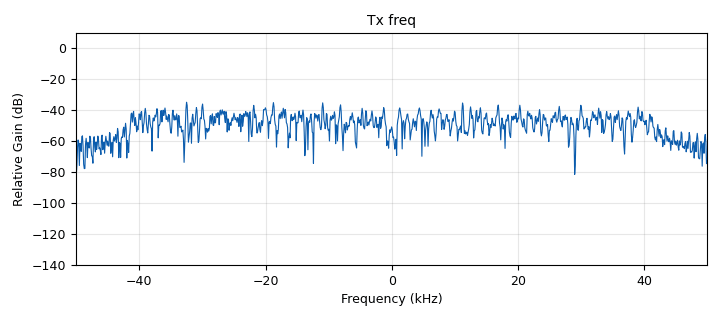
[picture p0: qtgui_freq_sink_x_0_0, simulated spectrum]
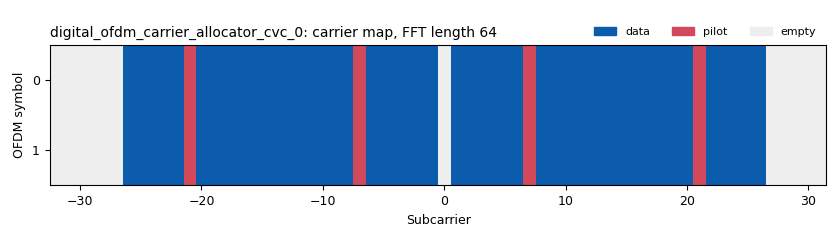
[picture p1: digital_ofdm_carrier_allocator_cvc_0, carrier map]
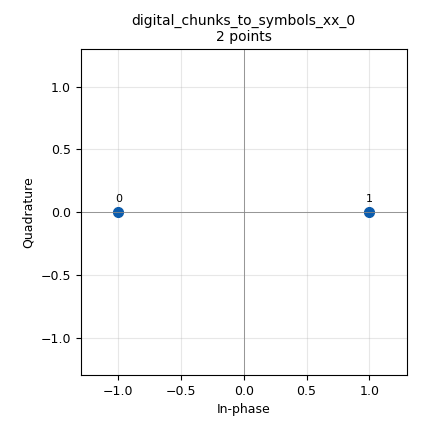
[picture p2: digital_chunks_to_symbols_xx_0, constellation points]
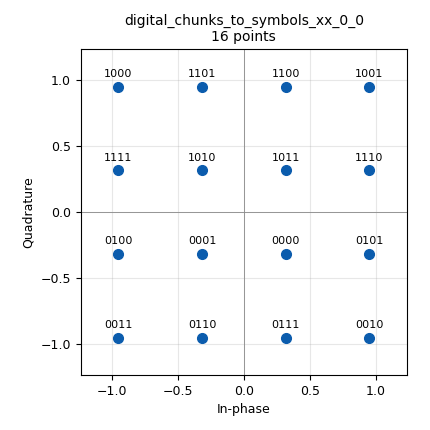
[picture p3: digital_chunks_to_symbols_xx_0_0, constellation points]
options:
  parameters:
    category: Custom
    description: Example of an OFDM receiver
    generate_options: qt_gui
    id: TX_SIDE_4audio
    output_language: python
    title: OFDM Tx Rx
  states: {}

blocks:
- name: RX_GAIN_0
  id: variable_qtgui_range
  parameters:
    label: RX_GAIN
    start: '0'
    step: '1'
    stop: '1000'
    value: '40'
  states: {}
- name: TX_GAIN
  id: variable_qtgui_range
  parameters:
    label: TX_GAIN
    start: '10'
    step: '1'
    stop: '1000'
    value: '40'
  states: {}
- name: central_freq
  id: variable
  parameters:
    value: 915e6
  states: {state: disabled}
- name: central_freq
  id: variable_qtgui_range
  parameters:
    label: TX FREQ
    start: 915e6
    step: 1e6
    stop: 10000e6
    value: 915e6
  states: {}
- name: central_freq_0
  id: variable_qtgui_range
  parameters:
    label: RX_FREQ
    start: 915e6
    step: 1e6
    stop: 10000e6
    value: 915e6
  states: {}
- name: fft_len
  id: variable
  parameters:
    value: '64'
  states: {}
- name: hdr_format
  id: variable
  parameters:
    value: digital.header_format_ofdm(occupied_carriers, 1, length_tag_key,)
  states: {}
- name: header_equalizer
  id: variable
  parameters:
    value: digital.ofdm_equalizer_simpledfe(fft_len, header_mod.base(), occupied_carriers, pilot_carriers, pilot_symbols)
  states: {}
- name: header_formatter
  id: variable
  parameters:
    value: digital.packet_header_ofdm(occupied_carriers, n_syms=1, len_tag_key=packet_length_tag_key, frame_len_tag_key=length_tag_key, bits_per_header_sym=header_mod.bits_per_symbol(), bits_per_payload_sym=payload_mod.bits_per_symbol(), scramble_header=False)
  states: {}
- name: header_mod
  id: variable
  parameters:
    value: digital.constellation_bpsk()
  states: {}
- name: length_tag_key
  id: variable
  parameters:
    value: '"frame_len"'
  states: {}
- name: occupied_carriers
  id: variable
  parameters:
    value: (list(range(-26, -21)) + list(range(-20, -7)) + list(range(-6, 0)) + list(range(1, 7)) + list(range(8, 21)) + list(range(22, 27)),)
  states: {}
- name: packet_len
  id: variable
  parameters:
    value: '96'
  states: {}
- name: packet_length_tag_key
  id: variable
  parameters:
    value: '"packet_len"'
  states: {}
- name: payload_equalizer
  id: variable
  parameters:
    value: digital.ofdm_equalizer_simpledfe(fft_len, payload_mod.base(), occupied_carriers, pilot_carriers, pilot_symbols, 1)
  states: {}
- name: payload_mod
  id: variable
  parameters:
    value: digital.constellation_16qam()
  states: {}
- name: pilot_carriers
  id: variable
  parameters:
    value: ((-21, -7, 7, 21,),)
  states: {}
- name: pilot_symbols
  id: variable
  parameters:
    value: ((1, 1, 1, -1,),)
  states: {}
- name: samp_rate
  id: variable
  parameters:
    value: '50000'
  states: {state: disabled}
- name: samp_rate
  id: variable_qtgui_range
  parameters:
    label: TX_SAMPLE
    start: '0'
    step: '1'
    stop: '500000'
    value: '100000'
  states: {}
- name: samp_rate_0
  id: variable_qtgui_range
  parameters:
    label: RX_SAMPLE
    start: '0'
    step: '1'
    stop: '500000'
    value: '100000'
  states: {}
- name: sync_word1
  id: variable
  parameters:
    value: '[0., 0., 0., 0., 0., 0., 0., 1.41421356, 0., -1.41421356, 0., 1.41421356, 0., -1.41421356, 0., -1.41421356, 0., -1.41421356, 0., 1.41421356, 0., -1.41421356, 0., 1.41421356, 0., -1.41421356, 0., -1.41421356, 0., -1.41421356, 0., -1.41421356, 0., 1.41421356, 0., -1.41421356, 0., 1.41421356, 0., 1.41421356, 0., 1.41421356, 0., -1.41421356, 0., 1.41421356, 0., 1.41421356, 0., 1.41421356, 0., -1.41421356, 0., 1.41421356, 0., 1.41421356, 0., 1.41421356, 0., 0., 0., 0., 0., 0.]'
  states: {}
- name: sync_word2
  id: variable
  parameters:
    value: '[0j, 0j, 0j, 0j, 0j, 0j, (-1+0j), (-1+0j), (-1+0j), (-1+0j), (1+0j), (1+0j), (-1+0j), (-1+0j), (-1+0j), (1+0j), (-1+0j), (1+0j), (1+0j), (1 +0j), (1+0j), (1+0j), (-1+0j), (-1+0j), (-1+0j), (-1+0j), (-1+0j), (1+0j), (-1+0j), (-1+0j), (1+0j), (-1+0j), 0j, (1+0j), (-1+0j), (1+0j), (1+0j), (1+0j), (-1+0j), (1+0j), (1+0j), (1+0j), (-1+0j), (1+0j), (1+0j), (1+0j), (1+0j), (-1+0j), (1+0j), (-1+0j), (-1+0j), (-1+0j), (1+0j), (-1+0j), (1+0j), (-1+0j), (-1+0j), (-1+0j), (-1+0j), 0j, 0j, 0j, 0j, 0j]'
  states: {}
- name: variable_qtgui_chooser_0
  id: variable_qtgui_chooser
  parameters:
    label0: '"song0"'
    label1: '"song1"'
    label2: '"song2"'
    num_opts: '3'
    option0: '0'
    option1: '1'
    option2: '2'
    type: int
    value: '0'
  states: {state: disabled}
- name: analog_frequency_modulator_fc_0
  id: analog_frequency_modulator_fc
  parameters:
    sensitivity: '-2.0/fft_len'
  states: {state: disabled}
- name: blocks_char_to_float_0
  id: blocks_char_to_float
  parameters:
    scale: '1'
  states: {state: disabled}
- name: blocks_delay_0
  id: blocks_delay
  parameters:
    delay: fft_len+fft_len//4
    type: complex
  states: {state: disabled}
- name: blocks_file_sink_0_0_0_0_0_0_0
  id: blocks_file_sink
  parameters:
    file: rx_frames_time
    type: complex
  states: {state: disabled}
- name: blocks_file_source_0
  id: blocks_file_source
  parameters:
    file: /home/pi/Desktop/project/mytests/demo.txt
    repeat: 'True'
    type: byte
  states: {state: disabled}
- name: blocks_message_strobe_0
  id: blocks_message_strobe
  parameters:
    msg: pmt.intern("TEST")
    period: '10'
  states: {}
- name: blocks_multiply_const_vxx_0
  id: blocks_multiply_const_vxx
  parameters:
    const: '0.05'
    type: complex
  states: {}
- name: blocks_multiply_xx_0
  id: blocks_multiply_xx
  parameters:
    type: complex
  states: {state: disabled}
- name: blocks_repack_bits_bb_0
  id: blocks_repack_bits_bb
  parameters:
    align_output: 'True'
    endianness: gr.GR_LSB_FIRST
    k: payload_mod.bits_per_symbol()
    l: '8'
    len_tag_key: packet_length_tag_key
  states: {state: disabled}
- name: blocks_repack_bits_bb_1
  id: blocks_repack_bits_bb
  parameters:
    endianness: gr.GR_LSB_FIRST
    k: '8'
    l: payload_mod.bits_per_symbol()
    len_tag_key: packet_length_tag_key
  states: {}
- name: blocks_repack_bits_bb_1_0
  id: blocks_repack_bits_bb
  parameters:
    endianness: gr.GR_LSB_FIRST
    k: '8'
    l: '1'
    len_tag_key: packet_length_tag_key
  states: {}
- name: blocks_stream_to_tagged_stream_0
  id: blocks_stream_to_tagged_stream
  parameters:
    len_tag_key: packet_length_tag_key
    packet_len: packet_len
    type: byte
  states: {}
- name: blocks_stream_to_tagged_stream_1
  id: blocks_stream_to_tagged_stream
  parameters:
    len_tag_key: '"packet_len"'
    packet_len: '96'
    type: byte
  states: {state: disabled}
- name: blocks_tag_debug_1
  id: blocks_tag_debug
  parameters:
    filter: packet_length_tag_key
    name: Rx Bytes
    type: byte
  states: {state: disabled}
- name: blocks_tag_gate_0
  id: blocks_tag_gate
  parameters:
    propagate_tags: 'False'
    type: complex
  states: {}
- name: blocks_tagged_stream_mux_0
  id: blocks_tagged_stream_mux
  parameters:
    lengthtagname: packet_length_tag_key
    ninputs: '2'
    type: complex
  states: {}
- name: blocks_throttle_0
  id: blocks_throttle
  parameters:
    samples_per_second: samp_rate
    type: complex
  states: {state: disabled}
- name: blocks_vector_to_stream_0
  id: blocks_vector_to_stream
  parameters:
    num_items: '64'
    type: complex
  states: {state: disabled}
- name: channels_channel_model_0
  id: channels_channel_model
  parameters:
    epsilon: '1.0'
    freq_offset: '0.0'
    noise_voltage: '0.0'
    seed: '0'
    taps: 0.7+ 0.7j
  states: {state: disabled}
- name: digital_chunks_to_symbols_xx_0
  id: digital_chunks_to_symbols_xx
  parameters:
    dimension: '1'
    in_type: byte
    out_type: complex
    symbol_table: header_mod.points()
  states: {}
- name: digital_chunks_to_symbols_xx_0_0
  id: digital_chunks_to_symbols_xx
  parameters:
    dimension: '1'
    in_type: byte
    out_type: complex
    symbol_table: payload_mod.points()
  states: {}
- name: digital_constellation_decoder_cb_0
  id: digital_constellation_decoder_cb
  parameters:
    constellation: header_mod.base()
  states: {state: disabled}
- name: digital_constellation_decoder_cb_1
  id: digital_constellation_decoder_cb
  parameters:
    constellation: payload_mod.base()
  states: {state: disabled}
- name: digital_crc32_bb_0
  id: digital_crc32_bb
  parameters:
    check: 'True'
    lengthtagname: packet_length_tag_key
    packed: 'True'
  states: {state: disabled}
- name: digital_crc32_bb_1
  id: digital_crc32_bb
  parameters:
    check: 'False'
    lengthtagname: packet_length_tag_key
    packed: 'True'
  states: {}
- name: digital_header_payload_demux_0
  id: digital_header_payload_demux
  parameters:
    guard_interval: fft_len//4
    header_len: '3'
    header_padding: '0'
    items_per_symbol: fft_len
    length_tag_key: length_tag_key
    output_symbols: 'True'
    samp_rate: samp_rate_0
    special_tags: ()
    timing_tag_key: '"rx_time"'
    type: complex
  states: {state: disabled}
- name: digital_ofdm_carrier_allocator_cvc_0
  id: digital_ofdm_carrier_allocator_cvc
  parameters:
    fft_len: fft_len
    len_tag_key: packet_length_tag_key
    occupied_carriers: occupied_carriers
    output_is_shifted: 'True'
    pilot_carriers: pilot_carriers
    pilot_symbols: pilot_symbols
    sync_words: (sync_word1, sync_word2)
  states: {}
- name: digital_ofdm_chanest_vcvc_0
  id: digital_ofdm_chanest_vcvc
  parameters:
    force_one_symbol: 'False'
    max_carr_offset: '3'
    n_data_symbols: '1'
    sync_symbol1: sync_word1
    sync_symbol2: sync_word2
  states: {state: disabled}
- name: digital_ofdm_cyclic_prefixer_0
  id: digital_ofdm_cyclic_prefixer
  parameters:
    cp_len: fft_len//4
    input_size: fft_len
    tagname: packet_length_tag_key
  states: {}
- name: digital_ofdm_frame_equalizer_vcvc_0
  id: digital_ofdm_frame_equalizer_vcvc
  parameters:
    cp_len: fft_len//4
    equalizer: header_equalizer.base()
    fft_len: fft_len
    fixed_frame_len: '1'
    len_tag_key: length_tag_key
    propagate_channel_state: 'True'
  states: {state: disabled}
- name: digital_ofdm_frame_equalizer_vcvc_1
  id: digital_ofdm_frame_equalizer_vcvc
  parameters:
    cp_len: fft_len//4
    equalizer: payload_equalizer.base()
    fft_len: fft_len
    len_tag_key: length_tag_key
    propagate_channel_state: 'True'
  states: {state: disabled}
- name: digital_ofdm_serializer_vcc_header
  id: digital_ofdm_serializer_vcc
  parameters:
    carr_offset_key: ''
    fft_len: fft_len
    len_tag_key: length_tag_key
    occupied_carriers: occupied_carriers
    packet_len_tag_key: ''
  states: {state: disabled}
- name: digital_ofdm_serializer_vcc_payload
  id: digital_ofdm_serializer_vcc
  parameters:
    carr_offset_key: ''
    fft_len: fft_len
    len_tag_key: length_tag_key
    occupied_carriers: occupied_carriers
    packet_len_tag_key: packet_length_tag_key
    symbols_skipped: '1'
  states: {state: disabled}
- name: digital_ofdm_sync_sc_cfb_0
  id: digital_ofdm_sync_sc_cfb
  parameters:
    cp_len: fft_len//4
    fft_len: fft_len
    threshold: '0.99'
  states: {state: disabled}
- name: digital_packet_headerparser_b_0
  id: digital_packet_headerparser_b
  parameters:
    header_formatter: header_formatter.base()
  states: {state: disabled}
- name: digital_protocol_formatter_bb_0
  id: digital_protocol_formatter_bb
  parameters:
    format: hdr_format
    len_tag_key: packet_length_tag_key
  states: {}
- name: epy_block_0
  id: epy_block
  parameters:
    _source_code: "\n\n\n\n\n\n\nimport numpy as np\nfrom gnuradio import gr\nimport pmt\n\nclass message_to_int8(gr.sync_block):\n    \"\"\"\n    A GNU Radio block that converts messages to int8 format and outputs them.\n    Optimized for faster live streaming with both blob and string handling.\n    \"\"\"\n\n    def __init__(self):\n        gr.sync_block.__init__(\n            self,\n            name=\"message_to_int8_optimized\",  # Block name\n            in_sig=None,                       # No direct input\n            out_sig=[np.int8]                  # Output signal type\n        )\n\n        # Register a message port\n        self.message_port_register_in(pmt.intern(\"msg_in\"))\n        self.set_msg_handler(pmt.intern(\"msg_in\"), self.handle_msg)\n\n        # Buffer to store the int8 data\n        self.output_data = np.array([], dtype=np.int8)\n        self.data_ready = False  # Flag to track if new data is ready\n\n    def handle_msg(self, msg):\n        # Check if the message is a blob (binary data)\n        if pmt.is_blob(msg):\n            # Extract blob data directly as int8\n            blob = pmt.blob_data(msg)\n            int8_data = np.frombuffer(blob, dtype=np.int8)\n            print(\"Received blob data:\", int8_data)\n\n        # Handle the case where the message is a string\n        elif pmt.is_symbol(msg):\n            # Convert the string to int8 numpy array\n            str_data = pmt.symbol_to_string(msg)\n            int8_data = np.frombuffer(str_data.encode('utf-8'), dtype=np.int8)\n            print(\"Received string data:\", int8_data)\n\n        else:\n            print(\"Unsupported PMT message type:\", msg)\n            return\n\n        # Update the buffer with the new data\n        self.output_data = np.append(self.output_data, int8_data)\n        self.data_ready = True\n\n    def work(self, input_items, output_items):\n        if not self.data_ready:\n            return 0  # No new data to output\n\n        # Determine how much data we can output\n        n_output_items = min(len(self.output_data), len(output_items[0]))\n\n        if n_output_items > 0:\n            # Directly copy data to the output buffer\n            output_items[0][:n_output_items] = self.output_data[:n_output_items]\n\n            # Remove the outputted data from the buffer\n            self.output_data = self.output_data[n_output_items:]\n\n            # If we've exhausted the buffer, reset the data_ready flag\n            if len(self.output_data) == 0:\n                self.data_ready = False\n\n        # Return the number of items produced\n        return n_output_items\n"
  states: {state: disabled}
- name: epy_block_0_0
  id: epy_block
  parameters:
    _source_code: "import numpy as np\nfrom gnuradio import gr\nfrom gnuradio.gr import pdu\nimport pmt\n\nclass message_to_pdu(gr.basic_block):\n    \"\"\"\n    A block that takes input from an Edit Text box, converts it to a PDU, and outputs the PDU.\n    \"\"\"\n\n    def __init__(self):\n        gr.basic_block.__init__(\n            self,\n            name=\"message_to_pdu\",\n            in_sig=None,  # No regular input signature\n            out_sig=None  # No regular output signature\n        )\n        self.message_port_register_out(pmt.intern(\"pdu_out\"))\n        self.message_port_register_in(pmt.intern(\"in\"))\n        self.set_msg_handler(pmt.intern(\"in\"), self.handle_msg)\n\n    def handle_msg(self, msg):\n        # Check if the message is a string\n        if pmt.is_symbol(msg):\n            # Convert the string to bytes\n            message_string = pmt.symbol_to_string(msg)\n            message_bytes = np.frombuffer(message_string.encode('utf-8'), dtype=np.uint8)\n            \n            # Create a PDU (Protocol Data Unit)\n            pdu_meta = pmt.PMT_NIL  # No metadata\n            pdu_data = pmt.init_u8vector(len(message_bytes), message_bytes)\n            pdu_message = pmt.cons(pdu_meta, pdu_data)\n            \n            # Output the PDU\n            self.message_port_pub(pmt.intern(\"pdu_out\"), pdu_message)\n        else:\n            print(\"Input is not a string\")\n\n"
  states: {}
- name: epy_block_1
  id: epy_block
  parameters:
    _source_code: "import numpy as np\nfrom gnuradio import gr\nimport pmt\n\nclass int8_to_message(gr.sync_block):\n    \"\"\"\n    A GNU Radio block that converts int8 input to a string and sends it as a message to update a QT GUI Chooser.\n    \"\"\"\n\n    def __init__(self,chooser_block=None):\n        gr.sync_block.__init__(\n            self,\n            name=\"int8_to_message\",  # Block name\n            in_sig=[np.int8],        # Input signal type\n            out_sig=None             # No direct output\n        )\n        \n        # Register an output message port\n        self.message_port_register_out(pmt.intern(\"msg_out\"))\n        self.chooser_block = chooser_block\n\n    def work(self, input_items, output_items):\n        # Convert int8 input to a byte array\n        byte_array = input_items[0].tobytes()\n        \n        # Convert byte array to string\n        converted_string = byte_array.decode('utf-8')\n        converted_string = converted_string[-1]\n        print(\"data received\",converted_string)\n        #self.chooser_block=int(converted_string)\n        \n        # Convert string to a PMT symbol\n        msg = pmt.intern(converted_string)\n        \n        # Send the message out\n        self.message_port_pub(pmt.intern(\"msg_out\"), msg)\n        \n        return len(input_items[0])\n\n"
    chooser_block: variable_qtgui_chooser_0
  states: {state: disabled}
- name: epy_block_2
  id: epy_block
  parameters:
    _source_code: "\n\n\nimport os\nimport numpy as np\nfrom gnuradio import gr\nimport pmt\nimport time\n\nclass message_file_sink_source(gr.basic_block):\n    def __init__(self, file_path=\"/home/pi/Desktop/project/mytests/demo.txt\", check_interval=1):\n        # Define the block with no input streaming, only message input\n        # Output signal is a byte stream (np.uint8)\n        gr.basic_block.__init__(self,\n            name=\"message_file_sink_source\",\n            in_sig=None,  # No streaming input\n            out_sig=[np.uint8])  # Output byte stream\n\n        # Register the message input port\n        self.message_port_register_in(pmt.intern(\"in\"))\n        self.set_msg_handler(pmt.intern(\"in\"), self.handle_message)\n\n        # File path and check interval\n        self.file_path = file_path\n        self.check_interval = check_interval\n\n        # Initialize file handling variables\n        self.file_position = 0  # Track where we are in the file\n        self.bytes_written = False\n        self.source_file = None\n        self.loop_file = False  # Initially, we do not loop\n        \n        \n        self.stream_data = None\n\n    def handle_message(self, msg):\n        # Handle incoming messages from the message strobe\n        if pmt.is_symbol(msg):\n            # If message is a string (symbol), encode it as bytes\n            data = pmt.symbol_to_string(msg).encode('utf-8')\n        elif pmt.is_u8vector(msg):\n            # If message is a u8vector (byte array), convert to a numpy array\n            data = np.array(pmt.u8vector_elements(msg), dtype=np.uint8).tobytes()\n        else:\n            print(\"Unsupported message type.\")\n            return\n\n            \n        # Write the incoming message to the file\n        try:\n            with open(self.file_path, 'wb') as sink_file:\n                # Write the new data to the file\n                sink_file.write(data * 550)  # Repeat data 15 times for testing\n                sink_file.flush()\n\n            # Mark that new data is available for reading\n            self.bytes_written = True\n            self.file_position = 0  # Reset position to start reading from the beginning\n            #print(\"New data written to file.\")\n        except Exception as e:\n            print(f\"Error writing to file: {e}\")\n\n    def general_work(self, input_items, output_items):\n        # If no data has been written yet, output nothing\n        if not self.bytes_written:\n            time.sleep(self.check_interval)  # Pause for a while if no new data\n            return 0\n\n        # Read bytes from the file in chunks and send them to the output\n        output_len = len(output_items[0])\n\n        # Open the file if not already opened\n        if self.source_file is None:\n            try:\n                self.source_file = open(self.file_path, 'rb')\n            except Exception as e:\n                print(f\"Error opening file for reading: {e}\")\n                return 0\n\n        try:\n            # Seek to the current file position\n            self.source_file.seek(self.file_position)\n\n            # Try to read `output_len` bytes from the source file\n            data = self.source_file.read(output_len)\n            #print(data)\n            print(\"true\" if data else \"false\")\n            \n            if(data):\n                self.stream_data = data\n\n            if not data:\n                # If EOF is reached, close the file and stop reading until new data is written\n                self.source_file.close()\n                self.source_file = None\n                self.bytes_written = False\n                #print(\"End of file reached, waiting for new data.\")\n                #return 0  # No items produced\n           \n                \n            if(self.stream_data!=None):\n                print(self.stream_data)\n\n                # Convert data to numpy uint8 format for output\n                output_items[0][:len(self.stream_data)] = np.frombuffer(self.stream_data, dtype=np.uint8)\n\n                # Update file position\n                self.file_position += len(self.stream_data)\n\n                # Produce the number of output items generated\n                self.consume_each(0)  # We are not consuming from any input\n                return len(self.stream_data)\n            else:\n                return 0\n                \n        except Exception as e:\n            print(f\"Error reading file: {e}\")\n            return 0\n\n    def stop(self):\n        # Close the source file when the flowgraph stops\n        if self.source_file:\n            self.source_file.close()\n        return True\n"
    check_interval: '1'
    file_path: '''/home/pi/Desktop/project/mytests/demo.txt'''
  states: {state: disabled}
- name: fft_vxx_0
  id: fft_vxx
  parameters:
    fft_size: fft_len
    forward: 'True'
    shift: 'True'
    type: complex
    window: ()
  states: {state: disabled}
- name: fft_vxx_1
  id: fft_vxx
  parameters:
    fft_size: fft_len
    forward: 'True'
    shift: 'True'
    type: complex
    window: ()
  states: {state: disabled}
- name: fft_vxx_2
  id: fft_vxx
  parameters:
    fft_size: fft_len
    forward: 'False'
    shift: 'True'
    type: complex
    window: ()
  states: {}
- name: import_1
  id: import
  parameters:
    imports: from gnuradio.digital.utils import tagged_streams
  states: {}
- name: pdu_pdu_to_tagged_stream_0
  id: pdu_pdu_to_tagged_stream
  parameters:
    tag: packet_len
    type: byte
  states: {}
- name: pdu_tagged_stream_to_pdu_0
  id: pdu_tagged_stream_to_pdu
  parameters:
    tag: packet_len
    type: byte
  states: {state: disabled}
- name: qtgui_const_sink_x_0
  id: qtgui_const_sink_x
  parameters:
    name: '"Rx payload"'
    size: '1024'
    type: complex
  states: {state: disabled}
- name: qtgui_edit_box_msg_0
  id: qtgui_edit_box_msg
  parameters:
    is_pair: 'False'
    is_static: 'False'
    label: '"ENTER SONG NUMBER"'
    type: string
    value: '"0"'
  states: {}
- name: qtgui_freq_sink_x_0
  id: qtgui_freq_sink_x
  parameters:
    autoscale: 'True'
    average: '0.05'
    bw: samp_rate
    ctrlpanel: 'True'
    fc: '0'
    fftsize: '2048'
    grid: 'True'
    name: '"Rx signal"'
    type: complex
  states: {state: disabled}
- name: qtgui_freq_sink_x_0_0
  id: qtgui_freq_sink_x
  parameters:
    bw: samp_rate
    fc: '0'
    fftsize: '1024'
    grid: 'True'
    name: '"Tx freq"'
    type: complex
  states: {}
- name: qtgui_time_sink_x_0
  id: qtgui_time_sink_x
  parameters:
    autoscale: 'True'
    ctrlpanel: 'True'
    grid: 'True'
    name: '"Rx packed"'
    size: '1024'
    srate: samp_rate_0
    type: float
  states: {state: disabled}
- name: uhd_usrp_sink_1
  id: uhd_usrp_sink
  parameters:
    ant0: '"TX/RX"'
    center_freq0: central_freq
    dev_addr: ''
    gain0: TX_GAIN
    samp_rate: samp_rate
    stream_chans: '[0]'
    sync: pc_clock
    type: fc32
  states: {}
- name: uhd_usrp_source_0
  id: uhd_usrp_source
  parameters:
    ant0: '"RX2"'
    center_freq0: central_freq_0
    dev_args: '""'
    gain0: RX_GAIN_0
    rx_agc0: Disabled
    samp_rate: samp_rate_0
    stream_chans: '[0]'
    sync: pc_clock
    type: fc32
  states: {state: disabled}
- name: virtual_sink_0
  id: virtual_sink
  parameters:
    stream_id: Header Stream
  states: {state: disabled}
- name: virtual_sink_1
  id: virtual_sink
  parameters:
    stream_id: Payload Stream
  states: {state: disabled}
- name: virtual_sink_1_0
  id: virtual_sink
  parameters:
    stream_id: Payload IQ
  states: {state: disabled}
- name: virtual_sink_2
  id: virtual_sink
  parameters:
    stream_id: '11'
  states: {}
- name: virtual_sink_2_0
  id: virtual_sink
  parameters:
    stream_id: Header Bits
  states: {}
- name: virtual_sink_2_0_0
  id: virtual_sink
  parameters:
    stream_id: Payload Bits
  states: {}
- name: virtual_sink_3
  id: virtual_sink
  parameters:
    stream_id: '22'
  states: {state: disabled}
- name: virtual_source_0
  id: virtual_source
  parameters:
    stream_id: Header Stream
  states: {state: disabled}
- name: virtual_source_0_0
  id: virtual_source
  parameters:
    stream_id: Payload IQ
  states: {state: disabled}
- name: virtual_source_1
  id: virtual_source
  parameters:
    stream_id: Payload Stream
  states: {state: disabled}
- name: virtual_source_2
  id: virtual_source
  parameters:
    stream_id: '11'
  states: {state: disabled}
- name: virtual_source_2_0
  id: virtual_source
  parameters:
    stream_id: Payload Bits
  states: {}
- name: virtual_source_2_0_0
  id: virtual_source
  parameters:
    stream_id: Header Bits
  states: {}

connections:
- [analog_frequency_modulator_fc_0, '0', blocks_multiply_xx_0, '0']
- [blocks_char_to_float_0, '0', qtgui_time_sink_x_0, '0']
- [blocks_delay_0, '0', blocks_multiply_xx_0, '1']
- [blocks_file_source_0, '0', blocks_stream_to_tagged_stream_0, '0']
- [blocks_message_strobe_0, strobe, epy_block_0, msg_in]
- [blocks_message_strobe_0, strobe, epy_block_0_0, in]
- [blocks_message_strobe_0, strobe, epy_block_2, in]
- [blocks_multiply_const_vxx_0, '0', blocks_tag_gate_0, '0']
- [blocks_multiply_xx_0, '0', digital_header_payload_demux_0, '0']
- [blocks_repack_bits_bb_0, '0', blocks_char_to_float_0, '0']
- [blocks_repack_bits_bb_0, '0', digital_crc32_bb_0, '0']
- [blocks_repack_bits_bb_1, '0', virtual_sink_2_0_0, '0']
- [blocks_repack_bits_bb_1_0, '0', virtual_sink_2_0, '0']
- [blocks_stream_to_tagged_stream_0, '0', digital_crc32_bb_1, '0']
- [blocks_stream_to_tagged_stream_1, '0', epy_block_1, '0']
- [blocks_stream_to_tagged_stream_1, '0', pdu_tagged_stream_to_pdu_0, '0']
- [blocks_tag_gate_0, '0', qtgui_freq_sink_x_0_0, '0']
- [blocks_tag_gate_0, '0', uhd_usrp_sink_1, '0']
- [blocks_tag_gate_0, '0', virtual_sink_2, '0']
- [blocks_tagged_stream_mux_0, '0', digital_ofdm_carrier_allocator_cvc_0, '0']
- [blocks_throttle_0, '0', channels_channel_model_0, '0']
- [blocks_vector_to_stream_0, '0', blocks_file_sink_0_0_0_0_0_0_0, '0']
- [channels_channel_model_0, '0', blocks_delay_0, '0']
- [channels_channel_model_0, '0', digital_ofdm_sync_sc_cfb_0, '0']
- [channels_channel_model_0, '0', qtgui_freq_sink_x_0, '0']
- [digital_chunks_to_symbols_xx_0, '0', blocks_tagged_stream_mux_0, '0']
- [digital_chunks_to_symbols_xx_0_0, '0', blocks_tagged_stream_mux_0, '1']
- [digital_constellation_decoder_cb_0, '0', digital_packet_headerparser_b_0, '0']
- [digital_constellation_decoder_cb_1, '0', blocks_repack_bits_bb_0, '0']
- [digital_crc32_bb_0, '0', blocks_stream_to_tagged_stream_1, '0']
- [digital_crc32_bb_0, '0', blocks_tag_debug_1, '0']
- [digital_crc32_bb_1, '0', blocks_repack_bits_bb_1, '0']
- [digital_crc32_bb_1, '0', digital_protocol_formatter_bb_0, '0']
- [digital_header_payload_demux_0, '0', virtual_sink_0, '0']
- [digital_header_payload_demux_0, '1', blocks_vector_to_stream_0, '0']
- [digital_header_payload_demux_0, '1', virtual_sink_1, '0']
- [digital_ofdm_carrier_allocator_cvc_0, '0', fft_vxx_2, '0']
- [digital_ofdm_chanest_vcvc_0, '0', digital_ofdm_frame_equalizer_vcvc_0, '0']
- [digital_ofdm_cyclic_prefixer_0, '0', blocks_multiply_const_vxx_0, '0']
- [digital_ofdm_frame_equalizer_vcvc_0, '0', digital_ofdm_serializer_vcc_header, '0']
- [digital_ofdm_frame_equalizer_vcvc_1, '0', digital_ofdm_serializer_vcc_payload, '0']
- [digital_ofdm_serializer_vcc_header, '0', digital_constellation_decoder_cb_0, '0']
- [digital_ofdm_serializer_vcc_payload, '0', qtgui_const_sink_x_0, '0']
- [digital_ofdm_serializer_vcc_payload, '0', virtual_sink_1_0, '0']
- [digital_ofdm_sync_sc_cfb_0, '0', analog_frequency_modulator_fc_0, '0']
- [digital_ofdm_sync_sc_cfb_0, '1', digital_header_payload_demux_0, '1']
- [digital_packet_headerparser_b_0, header_data, digital_header_payload_demux_0, header_data]
- [digital_protocol_formatter_bb_0, '0', blocks_repack_bits_bb_1_0, '0']
- [epy_block_0, '0', blocks_stream_to_tagged_stream_0, '0']
- [epy_block_0_0, pdu_out, pdu_pdu_to_tagged_stream_0, pdus]
- [epy_block_2, '0', blocks_stream_to_tagged_stream_0, '0']
- [fft_vxx_0, '0', digital_ofdm_chanest_vcvc_0, '0']
- [fft_vxx_1, '0', digital_ofdm_frame_equalizer_vcvc_1, '0']
- [fft_vxx_2, '0', digital_ofdm_cyclic_prefixer_0, '0']
- [pdu_pdu_to_tagged_stream_0, '0', blocks_stream_to_tagged_stream_0, '0']
- [pdu_tagged_stream_to_pdu_0, pdus, virtual_sink_3, '0']
- [qtgui_edit_box_msg_0, msg, blocks_message_strobe_0, set_msg]
- [uhd_usrp_source_0, '0', blocks_delay_0, '0']
- [uhd_usrp_source_0, '0', digital_ofdm_sync_sc_cfb_0, '0']
- [uhd_usrp_source_0, '0', qtgui_freq_sink_x_0, '0']
- [virtual_source_0, '0', fft_vxx_0, '0']
- [virtual_source_0_0, '0', digital_constellation_decoder_cb_1, '0']
- [virtual_source_1, '0', fft_vxx_1, '0']
- [virtual_source_2, '0', blocks_throttle_0, '0']
- [virtual_source_2_0, '0', digital_chunks_to_symbols_xx_0_0, '0']
- [virtual_source_2_0_0, '0', digital_chunks_to_symbols_xx_0, '0']

metadata:
  file_format: 1
  grc_version: 3.10.5.1
